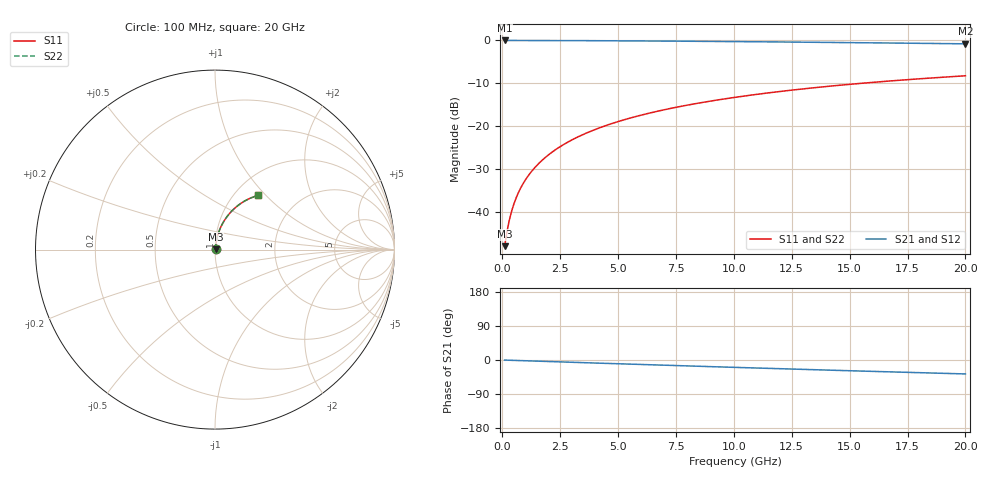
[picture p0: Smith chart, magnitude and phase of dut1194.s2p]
! Touchstone file exported from HFSS 2026.1.0
!  File:  C:/ffzhzh/LocalFiles/Ansys_Project_Files/temp_train_TMRDL_1194_1783162866_55132.aedt
!  Generated:  07:02:20 PM Jul  4, 2026
!  Design:  TMRDL
!  Project:  temp_train_TMRDL_1194_1783162866_55132
! Variables:
!  h_bsmrdl = 2um
!  h_ox = 20um
!  h_rdl = 5um
!  h_sub = 80um
!  h_tmrdl = 4.7um
!  h_tsv = 80um
!  h_via = 3um
!  l_bsmrdl = 300um
!  l_sub = 910.01um
!  l_tmrdl = 510.01um
!  m_sub = 200um
!  pitch = 39.75um
!  r_tsv = 6um
!  s_tmrdl = 10um
!  w_bsmrdl = 18um
!  w_sub = 500um
!  w_tmrdl = 12.5um
!  x_tsv_center1 = 516.26um
!  x_tsv_center2 = 834.26um
!  x_tsv_center3 = 1356.77um
!  x_tsv_center4 = 1674.77um
!  x_tsv_center5 = 2197.28um
!  x_tsv_center6 = 2515.28um
# GHz S MA R 50.000000
! Terminal data exported
! Port[1] = TM_RDL1_1_T1
! Port[2] = TM_RDL1_1_T2
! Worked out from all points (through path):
!   200 points, 100 MHz to 20 GHz, reference 50 ohm
!   highest |S21| = -0.03 dB at 100 MHz (marker M1); lowest = -0.8 dB at 20 GHz (marker M2)
!   group delay of S21, straight-line fit = 5.11 ps
!   lowest |S11| = -48.0 dB at 100 MHz (marker M3), VSWR 1.01, Z = 50.3 + j0.242 ohm
!   |S11| at or under -10 dB: start of sweep to 15.56 GHz
!   |S22| runs from -48.0 to -8.3 dB; largest |S21 - S12| = 2.7e-15
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0.1  0.003964 37.4  0.9969 -0.2  0.9969 -0.2  0.003964 37.4
! Gamma 0 0 0 0
! Port Impedance 50 0 50 0
0.2  0.005782 56.0  0.9968 -0.4  0.9968 -0.4  0.005782 56.0
0.3  0.007893 64.8  0.9967 -0.6  0.9967 -0.6  0.007893 64.8
0.4  0.01009 69.7  0.9966 -0.8  0.9966 -0.8  0.01009 69.7
0.5  0.01231 72.7  0.9965 -1.0  0.9965 -1.0  0.01232 72.7
0.6  0.01455 74.8  0.9964 -1.2  0.9964 -1.2  0.01455 74.8
0.8  0.01905 77.4  0.9962 -1.6  0.9962 -1.6  0.01905 77.4
1.1  0.02583 79.4  0.996 -2.2  0.996 -2.2  0.02583 79.4
1.5  0.03489 80.5  0.9955 -3.0  0.9955 -3.0  0.03489 80.5
1.8  0.04169 80.8  0.9951 -3.6  0.9951 -3.6  0.04169 80.8
2.1  0.04848 80.8  0.9947 -4.2  0.9947 -4.2  0.04848 80.8
2.7  0.062 80.4  0.9936 -5.4  0.9936 -5.4  0.062 80.4
3.5  0.07987 79.4  0.9918 -7.0  0.9918 -7.0  0.07987 79.4
4.2  0.0953 78.3  0.9899 -8.4  0.9899 -8.4  0.0953 78.3
5  0.1127 77.0  0.9875 -9.9  0.9875 -9.9  0.1127 77.0
5.9  0.132 75.4  0.9845 -11.7  0.9845 -11.7  0.132 75.4
6.8  0.1509 73.8  0.9812 -13.4  0.9812 -13.4  0.1509 73.8
8.3  0.1816 71.2  0.9752 -16.2  0.9752 -16.2  0.1816 71.2
10.1  0.2172 68.0  0.967 -19.6  0.967 -19.6  0.2172 68.0
13.4  0.2787 62.3  0.95 -25.5  0.95 -25.5  0.2787 62.3
16.7  0.335 56.8  0.931 -31.3  0.931 -31.3  0.335 56.8
20  0.3856 51.5  0.9108 -36.8  0.9108 -36.8  0.3856 51.5
